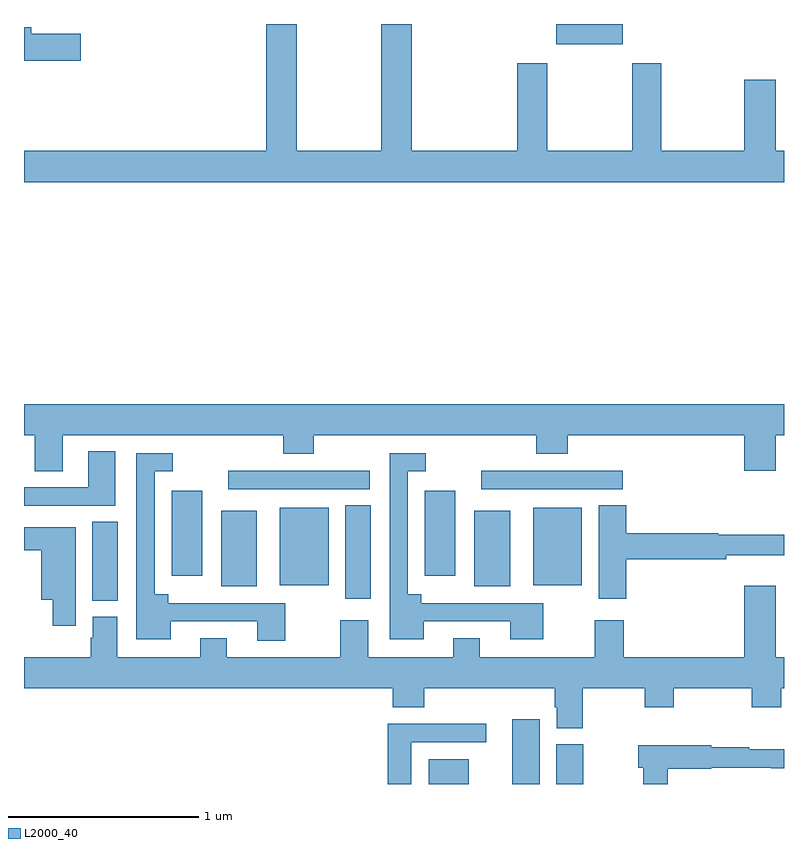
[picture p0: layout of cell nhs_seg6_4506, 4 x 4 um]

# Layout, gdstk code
import gdstk
lib = gdstk.Library(unit=1e-6, precision=1e-09)
def R(c, l, rs):  # rectangles x0, y0, x1, y1
    for r in rs: c.add(gdstk.rectangle(r[:2], r[2:], *l))
def P(c, l, *ps):  # polygons
    for p in ps: c.add(gdstk.Polygon(p, *l))
L2000_40 = (2000, 40)

nhs_seg6_4506 = lib.new_cell('nhs_seg6_4506')
R(nhs_seg6_4506, L2000_40, [(379.13,945.5,379.342,945.631), (379.571,945.5,379.714,945.841), (379.802,945.5,379.944,945.708), (377.36,946.465,377.494,946.88), (378.692,946.476,378.826,946.967), (378.038,946.541,378.226,946.939), (379.37,946.541,379.558,946.939), (378.347,946.547,378.604,946.954), (379.679,946.547,379.936,946.954), (377.777,946.596,377.938,947.044), (379.109,946.596,379.27,947.044), (378.075,947.052,378.82,947.148), (379.407,947.052,380.152,947.148), (379.802,949.394,380.152,949.5)])
P(nhs_seg6_4506, L2000_40, [(381,948.832),(380.956,948.832),(380.956,949.207),(380.792,949.207),(380.792,948.832),(380.355,948.832),(380.355,949.294),(380.2,949.294),(380.2,948.832),(379.755,948.832),(379.755,949.294),(379.595,949.294),(379.595,948.832),(379.04,948.832),(379.04,949.5),(378.88,949.5),(378.88,948.832),(378.435,948.832),(378.435,949.5),(378.275,949.5),(378.275,948.832),(377,948.832),(377,948.668),(381,948.668)],
  [(377.299,949.448),(377.038,949.448),(377.038,949.484),(377,949.484),(377,949.306),(377.299,949.306)],
  [(377.203,947.336),(378.365,947.336),(378.365,947.237),(378.525,947.237),(378.525,947.336),(379.697,947.336),(379.697,947.237),(379.862,947.237),(379.862,947.336),(380.792,947.336),(380.792,947.148),(380.956,947.148),(380.956,947.336),(381,947.336),(381,947.5),(377,947.5),(377,947.336),(377.056,947.336),(377.056,947.146),(377.203,947.146)],
  [(377.479,947.251),(377.339,947.251),(377.339,947.061),(377,947.061),(377,946.965),(377.479,946.965)],
  [(379.105,946.356),(379.559,946.356),(379.559,946.262),(379.732,946.262),(379.732,946.452),(379.09,946.452),(379.09,946.498),(379.02,946.498),(379.02,947.145),(379.114,947.145),(379.114,947.241),(378.924,947.241),(378.924,946.262),(379.105,946.262)],
  [(378.375,946.452),(377.758,946.452),(377.758,946.498),(377.688,946.498),(377.688,947.145),(377.782,947.145),(377.782,947.241),(377.592,947.241),(377.592,946.262),(377.773,946.262),(377.773,946.356),(378.227,946.356),(378.227,946.254),(378.375,946.254)],
  [(380.171,946.684),(380.696,946.684),(380.696,946.703),(381,946.703),(381,946.813),(380.654,946.813),(380.654,946.82),(380.171,946.82),(380.171,946.967),(380.024,946.967),(380.024,946.476),(380.171,946.476)],
  [(377.272,946.852),(377,946.852),(377,946.73),(377.09,946.73),(377.09,946.469),(377.15,946.469),(377.15,946.332),(377.272,946.332)],
  [(379.941,946.004),(380.266,946.004),(380.266,945.905),(380.421,945.905),(380.421,946.004),(380.83,946.004),(380.83,945.905),(380.985,945.905),(380.985,946.004),(381,946.004),(381,946.168),(380.956,946.168),(380.956,946.543),(380.792,946.543),(380.792,946.168),(380.156,946.168),(380.156,946.363),(380.003,946.363),(380.003,946.168),(379.399,946.168),(379.399,946.267),(379.259,946.267),(379.259,946.168),(378.811,946.168),(378.811,946.363),(378.664,946.363),(378.664,946.168),(378.067,946.168),(378.067,946.267),(377.927,946.267),(377.927,946.168),(377.491,946.168),(377.491,946.38),(377.363,946.38),(377.363,946.269),(377.351,946.269),(377.351,946.168),(377,946.168),(377,946.004),(378.941,946.004),(378.941,945.905),(379.106,945.905),(379.106,946.004),(379.793,946.004),(379.793,945.903),(379.805,945.903),(379.805,945.793),(379.941,945.793)],
  [(379.039,945.72),(379.432,945.72),(379.432,945.818),(378.914,945.818),(378.914,945.5),(379.039,945.5)],
  [(380.388,945.581),(380.616,945.581),(380.616,945.585),(380.932,945.585),(380.932,945.584),(381,945.584),(381,945.684),(380.816,945.684),(380.816,945.694),(380.616,945.694),(380.616,945.703),(380.233,945.703),(380.233,945.585),(380.258,945.585),(380.258,945.5),(380.388,945.5)])

lib.write_gds('nhs_seg6_4506.gds')
